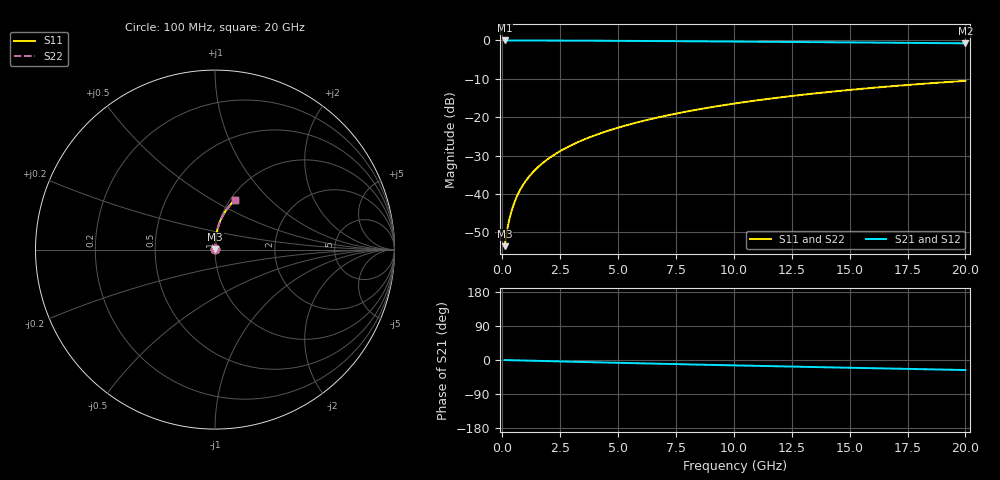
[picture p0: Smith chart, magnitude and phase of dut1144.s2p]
! Touchstone file exported from HFSS 2024.1.0
!  File:  C:/UserFiles/LocalFiles/RDL_TSV_Batchsim/temp_RDL_top_1144_1780047900.aedt
!  Generated:  05:47:15 PM May 29, 2026
!  Design:  RDL_top
!  Project:  temp_RDL_top_1144_1780047900
!  Setup:  Setup1
!  Solution:  Sweep
! Variables:
!  dtsv = 10.80580581um
!  hbump = 3um
!  htsv = 76.42um
!  ldown = 100um
!  lrdl = 323.24um
!  p = 40
!  p1 = 56.38um
!  rhole = 1um
!  t = 450um
!  tdown = 3.915915916um
!  trdl = 4.65um
!  wdown = 15.38538539um
!  wrdl = 18.85um
# GHz S MA R 50.000000
! Terminal data exported
! Port[1] = Box2_T1
! Port[2] = Box2_T2
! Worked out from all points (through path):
!   200 points, 100 MHz to 20 GHz, reference 50 ohm
!   highest |S21| = -0.01 dB at 100 MHz (marker M1); lowest = -0.8 dB at 20 GHz (marker M2)
!   group delay of S21, straight-line fit = 3.65 ps
!   lowest |S11| = -53.6 dB at 100 MHz (marker M3), VSWR 1.00, Z = 50.1 + j0.152 ohm
!   |S11| at or under -10 dB: start of sweep to end of sweep
!   |S22| runs from -53.6 to -10.5 dB; largest |S21 - S12| = 3.2e-15
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0.1  0.002098 46.3  0.9985 -0.2  0.9985 -0.2  0.002098 46.3
! Gamma 0 0 0 0
! Port Impedance 50 0 50 0
0.2  0.003282 64.2  0.9985 -0.3  0.9985 -0.3  0.003282 64.2
0.3  0.004627 71.9  0.9984 -0.5  0.9984 -0.5  0.004628 71.9
0.4  0.006025 76.0  0.9983 -0.6  0.9983 -0.6  0.006026 76.0
0.5  0.007445 78.6  0.9982 -0.8  0.9982 -0.8  0.007445 78.6
0.6  0.008875 80.2  0.9981 -0.9  0.9981 -0.9  0.008876 80.2
0.8  0.01175 82.3  0.998 -1.2  0.998 -1.2  0.01175 82.3
1.1  0.01607 83.9  0.9976 -1.7  0.9976 -1.7  0.01607 83.9
1.5  0.02183 84.9  0.9971 -2.3  0.9971 -2.3  0.02183 84.9
1.8  0.02614 85.3  0.9966 -2.8  0.9966 -2.8  0.02614 85.3
2.1  0.03047 85.6  0.996 -3.2  0.996 -3.2  0.03047 85.6
2.7  0.03915 85.8  0.9947 -4.1  0.9947 -4.1  0.03915 85.8
3.5  0.05083 85.8  0.9925 -5.3  0.9925 -5.3  0.05083 85.8
4.2  0.06118 85.6  0.9902 -6.3  0.9902 -6.3  0.06118 85.6
5  0.07316 85.3  0.9874 -7.4  0.9874 -7.4  0.07316 85.3
5.9  0.08681 84.7  0.9839 -8.7  0.9839 -8.7  0.08682 84.7
6.8  0.1006 83.9  0.9803 -9.9  0.9803 -9.9  0.1006 83.9
8.4  0.1254 82.3  0.9734 -12.1  0.9734 -12.1  0.1254 82.4
10.1  0.1519 80.4  0.9658 -14.3  0.9658 -14.3  0.1519 80.4
13.4  0.2027 76.3  0.9503 -18.5  0.9503 -18.5  0.2027 76.4
16.7  0.2516 72.1  0.9339 -22.6  0.9339 -22.6  0.2516 72.1
20  0.2977 68.0  0.9166 -26.5  0.9166 -26.5  0.2977 68.0
